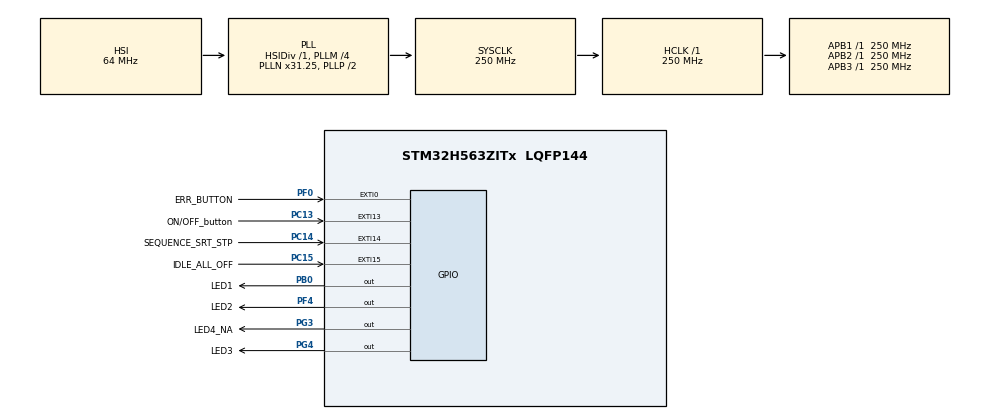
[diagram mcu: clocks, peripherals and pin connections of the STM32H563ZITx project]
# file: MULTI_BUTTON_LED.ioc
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BOOTPATH.BootPathName=LEGACY
BOOTPATH.UserSelectedBootPath=LEGACY
CORTEX_M33_NS.userName=CORTEX_M33
Mcu.Family=STM32H5
Mcu.Name=STM32H563ZITx
Mcu.Package=LQFP144
NVIC.EXTI0_IRQn=true\:0\:0\:false\:false\:true\:true\:true\:true
NVIC.EXTI13_IRQn=true\:0\:0\:false\:false\:true\:true\:true\:true
NVIC.EXTI14_IRQn=true\:0\:0\:false\:false\:true\:true\:true\:true
NVIC.EXTI15_IRQn=true\:0\:0\:false\:false\:true\:true\:true\:true
NVIC.PriorityGroup=NVIC_PRIORITYGROUP_4
NVIC.TIM3_IRQn=true\:0\:0\:false\:false\:true\:true\:true\:true
PB0.GPIO_Label=LED1
PB0.Signal=GPIO_Output
PC13.GPIO_Label=ON/OFF_button
PC13.Signal=GPXTI13
PC14-OSC32_IN(OSC32_IN).GPIO_Label=SEQUENCE_SRT_STP
PC14-OSC32_IN(OSC32_IN).Signal=GPXTI14
PC15-OSC32_OUT(OSC32_OUT).GPIO_Label=IDLE_ALL_OFF
PC15-OSC32_OUT(OSC32_OUT).Signal=GPXTI15
PF0.GPIO_Label=ERR_BUTTON
PF0.Signal=GPXTI0
PF4.GPIO_Label=LED2
PF4.Signal=GPIO_Output
PG3.GPIO_Label=LED4_NA
PG3.Signal=GPIO_Output
PG4.GPIO_Label=LED3
PG4.Signal=GPIO_Output
ProjectManager.HeapSize=0x200
ProjectManager.StackSize=0x400
ProjectManager.TargetToolchain=STM32CubeIDE
RCC.ADCFreq_Value=250000000
RCC.AHBFreq_Value=250000000
RCC.APB1Freq_Value=250000000
RCC.APB1TimFreq_Value=250000000
RCC.APB2Freq_Value=250000000
RCC.APB2TimFreq_Value=250000000
RCC.APB3Freq_Value=250000000
RCC.CSI_VALUE=4000000
RCC.CortexFreq_Value=250000000
RCC.EPOD_VALUE=64000000
RCC.HCLKFreq_Value=250000000
RCC.HSE_VALUE=25000000
RCC.HSI48_VALUE=48000000
RCC.HSIDiv=RCC_HSI_DIV1
RCC.HSI_VALUE=64000000
RCC.LSE_VALUE=32768
RCC.LSIRC_VALUE=32000
RCC.PLLFRACN=2048
RCC.PLLM=4
RCC.PLLN=31
RCC.PLLSourceVirtual=RCC_PLL1_SOURCE_HSI
RCC.SYSCLKFreq_VALUE=250000000
RCC.SYSCLKSource=RCC_SYSCLKSOURCE_PLLCLK
RCC.USBFreq_Value=48000000
RCC.VCOOutputFreq_Value=500000000
TIM3.PeriodNoDither=10000
TIM3.Prescaler=24999
VP_BOOTPATH_VS_BOOTPATH.Mode=BP_Activate
VP_CORTEX_M33_NS_VS_Hclk.Mode=Hclk_Mode
VP_MEMORYMAP_VS_MEMORYMAP.Mode=CurAppReg
VP_PWR_VS_DBSignals.Mode=DisableDeadBatterySignals
VP_PWR_VS_LPOM.Mode=PowerOptimisation
VP_PWR_VS_SECSignals.Mode=Security/Privilege
VP_TIM3_VS_ClockSourceINT.Mode=Internal
board=custom

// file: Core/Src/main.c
/* USER CODE BEGIN Header */
/**
  ******************************************************************************
  * @file           : main.c
  * @brief          : Main program body
  ******************************************************************************
  * @attention
  *
  * Copyright (c) 2024 STMicroelectronics.
  * All rights reserved.
  *
  * This software is licensed under terms that can be found in the LICENSE file
  * in the root directory of this software component.
  * If no LICENSE file comes with this software, it is provided AS-IS.
  *
  ******************************************************************************
  */
/* USER CODE END Header */
#include "main.h"
#include "memorymap.h"
#include "tim.h"
#include "gpio.h"

/* USER CODE BEGIN PV */
uint32_t lastDebounceTime; // for detecting 3 sec button press
uint8_t idle_button,ON_OFF,SSTR_STP,ERR;//count condition for flags

/* USER CODE END PV */

void SystemClock_Config(void);

int main(void)
{

  /* MCU Configuration--------------------------------------------------------*/

  /* Reset of all peripherals, Initializes the Flash interface and the Systick. */
  HAL_Init();

  /* Configure the system clock */
  SystemClock_Config();

  /* Initialize all configured peripherals */
  MX_GPIO_Init();
  MX_TIM3_Init();

  /* Infinite loop */
  /* USER CODE BEGIN WHILE */
  while (1)
  {

	  //idle state
	  if (HAL_GetTick() - lastDebounceTime > 3000) {//idle state button-longpress detection
		  idle_button = 1;
#define IDLE
#undef SEQUENCE
#undef RUNNING
#undef ERROR

	  }
//ERR state
	  if(ERR==2){//ERR button double press
		  HAL_GPIO_WritePin(GPIOG, GPIO_PIN_4,1);//PG4 LED indication//solid on
		  ERR=0;//ERR flag reset

#define ERROR
	  }else
		  {
#undef ERROR
		  HAL_GPIO_WritePin(GPIOG, GPIO_PIN_4,0);//LED OFF
		  }
// ON/OFF state
	  if(ON_OFF)//ON state
	  {
#define RUNNING
		  if(SSTR_STP)//sequence start
		  {
#define SEQUENCE
			  if (HAL_TIM_Base_Init(&htim3) != HAL_OK)
			    {
			      Error_Handler();
			    }//blinking LED every 1 sec with timer_interrupt

		  }
		  if(SSTR_STP==2)//sequence stop
		  {
#undef SEQUENCE
			  SSTR_STP=0;//sstr_stp flag reset
		  }

	  }
	  if(ON_OFF==2)//OFF state
	  {
#define IDLE
#undef RUNNING
		  ON_OFF=0;//ON_OFF flag reset
	  }

#if IDLE 1

#endif

#if RUNNING

#endif

#if SEQUENCE

#endif

#if ERROR

#endif
    /* USER CODE END WHILE */

  }
}

void SystemClock_Config(void)
{
  RCC_OscInitTypeDef RCC_OscInitStruct = {0};
  RCC_ClkInitTypeDef RCC_ClkInitStruct = {0};

  /** Configure the main internal regulator output voltage
  */
  __HAL_PWR_VOLTAGESCALING_CONFIG(PWR_REGULATOR_VOLTAGE_SCALE0);

  while(!__HAL_PWR_GET_FLAG(PWR_FLAG_VOSRDY)) {}

  /** Initializes the RCC Oscillators according to the specified parameters
  * in the RCC_OscInitTypeDef structure.
  */
  RCC_OscInitStruct.OscillatorType = RCC_OSCILLATORTYPE_HSI;
  RCC_OscInitStruct.HSIState = RCC_HSI_ON;
  RCC_OscInitStruct.HSIDiv = RCC_HSI_DIV1;
  RCC_OscInitStruct.HSICalibrationValue = RCC_HSICALIBRATION_DEFAULT;
  RCC_OscInitStruct.PLL.PLLState = RCC_PLL_ON;
  RCC_OscInitStruct.PLL.PLLSource = RCC_PLL1_SOURCE_HSI;
  RCC_OscInitStruct.PLL.PLLM = 4;
  RCC_OscInitStruct.PLL.PLLN = 31;
  RCC_OscInitStruct.PLL.PLLP = 2;
  RCC_OscInitStruct.PLL.PLLQ = 2;
  RCC_OscInitStruct.PLL.PLLR = 2;
  RCC_OscInitStruct.PLL.PLLRGE = RCC_PLL1_VCIRANGE_3;
  RCC_OscInitStruct.PLL.PLLVCOSEL = RCC_PLL1_VCORANGE_WIDE;
  RCC_OscInitStruct.PLL.PLLFRACN = 2048;
  if (HAL_RCC_OscConfig(&RCC_OscInitStruct) != HAL_OK)
  {
    Error_Handler();
  }

  /** Initializes the CPU, AHB and APB buses clocks
  */
  RCC_ClkInitStruct.ClockType = RCC_CLOCKTYPE_HCLK|RCC_CLOCKTYPE_SYSCLK
                              |RCC_CLOCKTYPE_PCLK1|RCC_CLOCKTYPE_PCLK2
                              |RCC_CLOCKTYPE_PCLK3;
  RCC_ClkInitStruct.SYSCLKSource = RCC_SYSCLKSOURCE_PLLCLK;
  RCC_ClkInitStruct.AHBCLKDivider = RCC_SYSCLK_DIV1;
  RCC_ClkInitStruct.APB1CLKDivider = RCC_HCLK_DIV1;
  RCC_ClkInitStruct.APB2CLKDivider = RCC_HCLK_DIV1;
  RCC_ClkInitStruct.APB3CLKDivider = RCC_HCLK_DIV1;

  if (HAL_RCC_ClockConfig(&RCC_ClkInitStruct, FLASH_LATENCY_5) != HAL_OK)
  {
    Error_Handler();
  }

  /** Configure the programming delay
  */
  __HAL_FLASH_SET_PROGRAM_DELAY(FLASH_PROGRAMMING_DELAY_2);
}

/* USER CODE BEGIN 4 */
void HAL_GPIO_EXTI_Rising_Callback(uint16_t GPIO_Pin){
 if(GPIO_Pin == GPIO_PIN_13){
 //ON/OFF button
	 HAL_GPIO_TogglePin(GPIOB, GPIO_PIN_0);//PB0 LED indication
	 ON_OFF++;//on=1,off=2
 }
 if(GPIO_Pin == GPIO_PIN_14){
	 //Sequence start stop flag
	 HAL_GPIO_TogglePin(GPIOF, GPIO_PIN_4);//PF4 LED indication
	 SSTR_STP++;//start =1,stp=2
 }
 if(GPIO_Pin == GPIO_PIN_15){
	 lastDebounceTime = HAL_GetTick();
	 idle_button = 0;
  }
 if(GPIO_Pin == GPIO_PIN_10){
	 //error state flag
	 ERR ++;//double press makes the variable 2
  }
 }

/* USER CODE END 4 */

void Error_Handler(void)
{
  __disable_irq();
  while (1)
  {
  }
}
